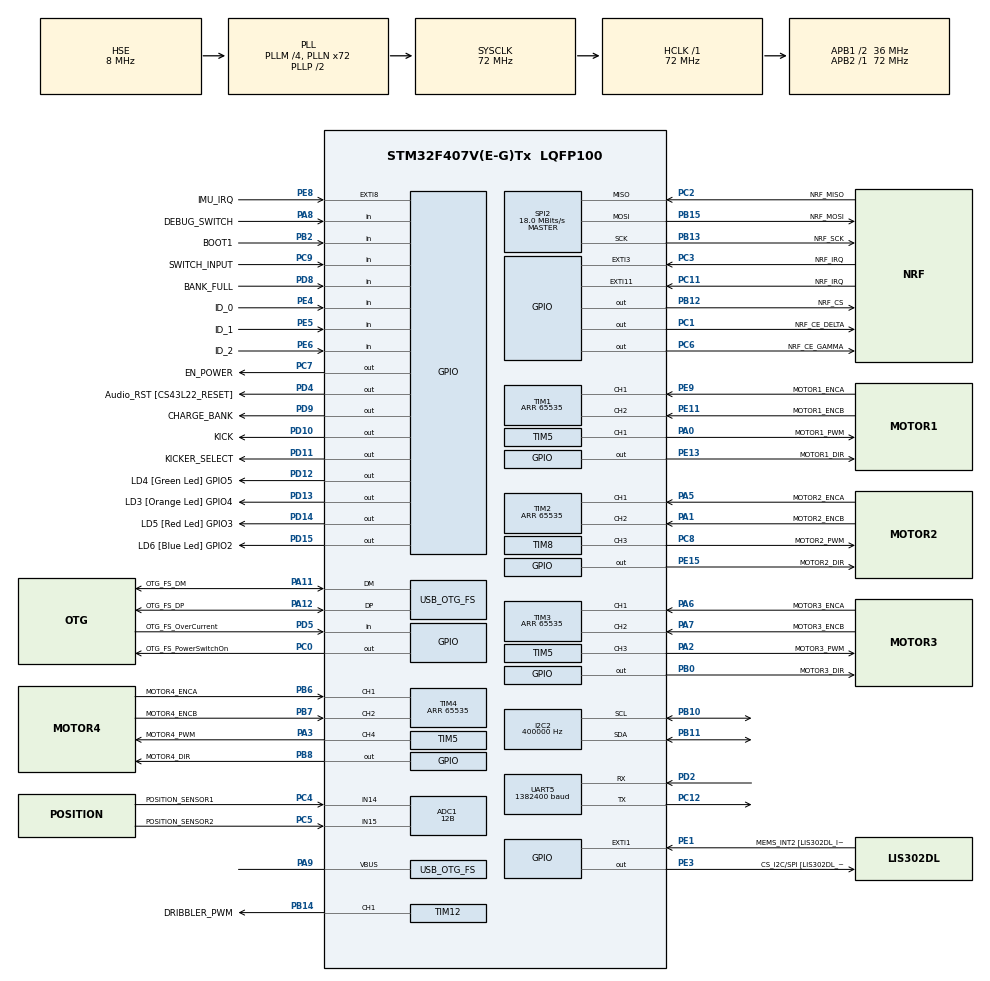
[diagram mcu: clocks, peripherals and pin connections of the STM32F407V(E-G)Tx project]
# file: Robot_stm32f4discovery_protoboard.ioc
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ADC1.Channel-0\#ChannelRegularConversion=ADC_CHANNEL_14
ADC1.Channel-2\#ChannelInjectedConversion=ADC_CHANNEL_14
ADC1.Channel-3\#ChannelInjectedConversion=ADC_CHANNEL_15
ADC1.ClockPrescaler=ADC_CLOCK_SYNC_PCLK_DIV2
ADC1.ContinuousConvMode=DISABLE
ADC1.DMAContinuousRequests=DISABLE
ADC1.DataAlign=ADC_DATAALIGN_RIGHT
ADC1.DiscontinuousConvMode=DISABLE
ADC1.EOCSelection=ADC_EOC_SINGLE_CONV
ADC1.EnableAnalogWatchDog=false
ADC1.ExternalTrigConv=ADC_EXTERNALTRIGCONV_T1_CC1
ADC1.ExternalTrigConvEdge=ADC_EXTERNALTRIGCONVEDGE_RISING
ADC1.InjNumberOfConversion=2
ADC1.InjectedOffset-2\#ChannelInjectedConversion=0
ADC1.InjectedOffset-3\#ChannelInjectedConversion=0
ADC1.NbrOfConversion=1
ADC1.NbrOfConversionFlag=1
ADC1.Rank-0\#ChannelRegularConversion=1
ADC1.Rank-2\#ChannelInjectedConversion=1
ADC1.Rank-3\#ChannelInjectedConversion=2
ADC1.Resolution=ADC_RESOLUTION_12B
ADC1.SamplingTime-0\#ChannelRegularConversion=ADC_SAMPLETIME_3CYCLES
ADC1.SamplingTime-2\#ChannelInjectedConversion=ADC_SAMPLETIME_3CYCLES
ADC1.SamplingTime-3\#ChannelInjectedConversion=ADC_SAMPLETIME_3CYCLES
ADC1.ScanConvMode=ENABLE
ADC1.master=1
FREERTOS.INCLUDE_vTaskDelayUntil=1
FREERTOS.Tasks01=defaultTask,3,128,StartDefaultTask,Default,NULL,Dynamic,NULL,NULL;wheelsTask,3,1048,wheelsTaskLoopFunction,Default,NULL,Dynamic,NULL,NULL;hermesTask,0,1048,hermesTaskLoopFunction,Default,NULL,Dynamic,NULL,NULL;slowTask,-1,128,slowTaskFunction,Default,NULL,Dynamic,NULL,NULL;consoleTask,0,1048,consoleTaskLoopFunction,Default,NULL,Dynamic,NULL,NULL
I2C2.ClockSpeed=400000
I2C2.I2C_Mode=I2C_Fast
Mcu.Family=STM32F4
Mcu.Name=STM32F407V(E-G)Tx
Mcu.Package=LQFP100
NVIC.EXTI15_10_IRQn=true\:5\:0\:false\:false\:true\:true\:true\:true
NVIC.EXTI3_IRQn=true\:5\:0\:false\:false\:true\:true\:true\:true
NVIC.OTG_FS_IRQn=true\:5\:0\:false\:false\:true\:true\:true\:true
NVIC.PriorityGroup=NVIC_PRIORITYGROUP_4
NVIC.SPI2_IRQn=true\:5\:0\:false\:false\:true\:true\:true\:true
NVIC.TIM7_IRQn=true\:5\:0\:false\:false\:true\:true\:true\:true
NVIC.TIM8_TRG_COM_TIM14_IRQn=true\:0\:0\:false\:false\:true\:false\:true\:true
NVIC.TimeBase=TIM8_TRG_COM_TIM14_IRQn
NVIC.TimeBaseIP=TIM14
NVIC.UART5_IRQn=true\:5\:0\:false\:false\:true\:true\:true\:true
PA0-WKUP.GPIO_Label=MOTOR1_PWM
PA0-WKUP.Signal=S_TIM5_CH1
PA1.GPIO_Label=MOTOR2_ENCB
PA1.Signal=S_TIM2_CH2
PA11.GPIO_Label=OTG_FS_DM
PA11.GPIO_Mode=GPIO_MODE_AF_PP
PA11.GPIO_PuPd=GPIO_NOPULL
PA11.GPIO_Speed=GPIO_SPEED_FREQ_LOW
PA11.Mode=Device_Only
PA11.Signal=USB_OTG_FS_DM
PA12.GPIO_Label=OTG_FS_DP
PA12.GPIO_Mode=GPIO_MODE_AF_PP
PA12.GPIO_PuPd=GPIO_NOPULL
PA12.GPIO_Speed=GPIO_SPEED_FREQ_LOW
PA12.Mode=Device_Only
PA12.Signal=USB_OTG_FS_DP
PA13.GPIO_Label=SWDIO
PA13.Mode=Serial_Wire
PA13.Signal=SYS_JTMS-SWDIO
PA14.GPIO_Label=SWCLK
PA14.Mode=Serial_Wire
PA14.Signal=SYS_JTCK-SWCLK
PA2.GPIO_Label=MOTOR3_PWM
PA2.Signal=S_TIM5_CH3
PA3.GPIO_Label=MOTOR4_PWM
PA3.Signal=S_TIM5_CH4
PA5.GPIO_Label=MOTOR2_ENCA
PA5.Signal=S_TIM2_CH1_ETR
PA6.GPIO_Label=MOTOR3_ENCA
PA6.Signal=S_TIM3_CH1
PA7.GPIO_Label=MOTOR3_ENCB
PA7.Signal=S_TIM3_CH2
PA8.GPIO_Label=DEBUG_SWITCH
PA8.Signal=GPIO_Input
PA9.Mode=Activate_VBUS
PA9.Signal=USB_OTG_FS_VBUS
PB0.GPIO_Label=MOTOR3_DIR
PB0.Signal=GPIO_Output
PB10.Mode=I2C
PB10.Signal=I2C2_SCL
PB11.Mode=I2C
PB11.Signal=I2C2_SDA
PB12.GPIO_Label=NRF_CS
PB12.Signal=GPIO_Output
PB13.GPIO_Label=NRF_SCK
PB13.GPIO_PuPd=GPIO_PULLUP
PB13.Mode=Full_Duplex_Master
PB13.Signal=SPI2_SCK
PB14.GPIO_Label=DRIBBLER_PWM
PB14.Signal=S_TIM12_CH1
PB15.GPIO_Label=NRF_MOSI
PB15.GPIO_PuPd=GPIO_PULLUP
PB15.Mode=Full_Duplex_Master
PB15.Signal=SPI2_MOSI
PB2.GPIO_Label=BOOT1
PB2.GPIO_Mode=GPIO_MODE_INPUT
PB2.GPIO_PuPd=GPIO_NOPULL
PB2.Signal=GPIO_Input
PB6.GPIO_Label=MOTOR4_ENCA
PB6.Signal=S_TIM4_CH1
PB7.GPIO_Label=MOTOR4_ENCB
PB7.Signal=S_TIM4_CH2
PB8.GPIO_Label=MOTOR4_DIR
PB8.Signal=GPIO_Output
PC0.GPIO_Label=OTG_FS_PowerSwitchOn
PC0.GPIO_PuPd=GPIO_NOPULL
PC0.GPIO_Speed=GPIO_SPEED_FREQ_LOW
PC0.Signal=GPIO_Output
PC1.GPIO_Label=NRF_CE_DELTA
PC1.Signal=GPIO_Output
PC11.GPIO_Label=NRF_IRQ
PC11.GPIO_ModeDefaultEXTI=GPIO_MODE_IT_FALLING
PC11.Signal=GPXTI11
PC12.Mode=Asynchronous
PC12.Signal=UART5_TX
PC2.GPIO_Label=NRF_MISO
PC2.GPIO_PuPd=GPIO_PULLUP
PC2.Mode=Full_Duplex_Master
PC2.Signal=SPI2_MISO
PC3.GPIO_Label=NRF_IRQ
PC3.Signal=GPXTI3
PC4.GPIO_Label=POSITION_SENSOR1
PC4.Signal=ADCx_IN14
PC5.GPIO_Label=POSITION_SENSOR2
PC5.Signal=ADCx_IN15
PC6.GPIO_Label=NRF_CE_GAMMA
PC6.Signal=GPIO_Output
PC7.GPIO_Label=EN_POWER
PC7.Signal=GPIO_Output
PC8.GPIO_Label=MOTOR2_PWM
PC8.Signal=S_TIM8_CH3
PC9.GPIO_Label=SWITCH_INPUT
PC9.Signal=GPIO_Input
PD10.GPIO_Label=KICK
PD10.Signal=GPIO_Output
PD11.GPIO_Label=KICKER_SELECT
PD11.Signal=GPIO_Output
PD12.GPIO_Label=LD4 [Green Led] GPIO5
PD12.GPIO_PuPd=GPIO_NOPULL
PD12.GPIO_Speed=GPIO_SPEED_FREQ_LOW
PD12.Signal=GPIO_Output
PD13.GPIO_Label=LD3 [Orange Led] GPIO4
PD13.GPIO_PuPd=GPIO_NOPULL
PD13.GPIO_Speed=GPIO_SPEED_FREQ_LOW
PD13.Signal=GPIO_Output
PD14.GPIO_Label=LD5 [Red Led] GPIO3
PD14.GPIO_PuPd=GPIO_NOPULL
PD14.GPIO_Speed=GPIO_SPEED_FREQ_LOW
PD14.Signal=GPIO_Output
PD15.GPIO_Label=LD6 [Blue Led] GPIO2
PD15.GPIO_PuPd=GPIO_NOPULL
PD15.GPIO_Speed=GPIO_SPEED_FREQ_LOW
PD15.Signal=GPIO_Output
PD2.Mode=Asynchronous
PD2.Signal=UART5_RX
PD4.GPIO_Label=Audio_RST [CS43L22_RESET]
PD4.GPIO_PuPd=GPIO_NOPULL
PD4.GPIO_Speed=GPIO_SPEED_FREQ_LOW
PD4.Signal=GPIO_Output
PD5.GPIO_Label=OTG_FS_OverCurrent
PD5.GPIO_Mode=GPIO_MODE_INPUT
PD5.GPIO_PuPd=GPIO_NOPULL
PD5.Signal=GPIO_Input
PD8.GPIO_Label=BANK_FULL
PD8.Signal=GPIO_Input
PD9.GPIO_Label=CHARGE_BANK
PD9.Signal=GPIO_Output
PE1.GPIO_Label=MEMS_INT2 [LIS302DL_INT2]
PE1.GPIO_ModeDefaultEXTI=GPIO_MODE_EVT_RISING
PE1.GPIO_PuPd=GPIO_NOPULL
PE1.Signal=GPXTI1
PE11.GPIO_Label=MOTOR1_ENCB
PE11.Signal=S_TIM1_CH2
PE13.GPIO_Label=MOTOR1_DIR
PE13.Signal=GPIO_Output
PE15.GPIO_Label=MOTOR2_DIR
PE15.Signal=GPIO_Output
PE3.GPIO_Label=CS_I2C/SPI [LIS302DL_CS_I2C/SPI]
PE3.GPIO_PuPd=GPIO_NOPULL
PE3.GPIO_Speed=GPIO_SPEED_FREQ_LOW
PE3.Signal=GPIO_Output
PE4.GPIO_Label=ID_0
PE4.Signal=GPIO_Input
PE5.GPIO_Label=ID_1
PE5.Signal=GPIO_Input
PE6.GPIO_Label=ID_2
PE6.Signal=GPIO_Input
PE8.GPIO_Label=IMU_IRQ
PE8.Signal=GPXTI8
PE9.GPIO_Label=MOTOR1_ENCA
PE9.Signal=S_TIM1_CH1
PH0-OSC_IN.GPIO_Label=PH0-OSC_IN
PH0-OSC_IN.Mode=HSE-External-Oscillator
PH0-OSC_IN.Signal=RCC_OSC_IN
PH1-OSC_OUT.GPIO_Label=PH1-OSC_OUT
PH1-OSC_OUT.Mode=HSE-External-Oscillator
PH1-OSC_OUT.Signal=RCC_OSC_OUT
ProjectManager.HeapSize=0x400
ProjectManager.StackSize=0x200
ProjectManager.TargetToolchain=SW4STM32
RCC.48MHZClocksFreq_Value=48000000
RCC.AHBFreq_Value=72000000
RCC.APB1CLKDivider=RCC_HCLK_DIV2
RCC.APB1Freq_Value=36000000
RCC.APB1TimFreq_Value=72000000
RCC.APB2Freq_Value=72000000
RCC.APB2TimFreq_Value=72000000
RCC.CortexFreq_Value=72000000
RCC.HCLKFreq_Value=72000000
RCC.HSE_VALUE=8000000
RCC.HSI_VALUE=16000000
RCC.LSE_VALUE=32768
RCC.PLLM=4
RCC.PLLN=72
RCC.PLLQ=3
RCC.SYSCLKFreq_VALUE=72000000
RCC.SYSCLKSource=RCC_SYSCLKSOURCE_PLLCLK
RCC.VCOOutputFreq_Value=144000000
SH.ADCx_IN14.0=ADC1_IN14,IN14
SH.ADCx_IN15.0=ADC1_IN15,IN15
SH.S_TIM12_CH1.0=TIM12_CH1,PWM Generation1 CH1
SH.S_TIM1_CH1.0=TIM1_CH1,Encoder_Interface
SH.S_TIM1_CH2.0=TIM1_CH2,Encoder_Interface
SH.S_TIM2_CH1_ETR.0=TIM2_CH1,Encoder_Interface
SH.S_TIM2_CH2.0=TIM2_CH2,Encoder_Interface
SH.S_TIM3_CH1.0=TIM3_CH1,Encoder_Interface
SH.S_TIM3_CH2.0=TIM3_CH2,Encoder_Interface
SH.S_TIM4_CH1.0=TIM4_CH1,Encoder_Interface
SH.S_TIM4_CH2.0=TIM4_CH2,Encoder_Interface
SH.S_TIM5_CH1.0=TIM5_CH1,PWM Generation1 CH1
SH.S_TIM5_CH3.0=TIM5_CH3,PWM Generation3 CH3
SH.S_TIM5_CH4.0=TIM5_CH4,PWM Generation4 CH4
SH.S_TIM8_CH3.0=TIM8_CH3,PWM Generation3 CH3
SPI2.BaudRatePrescaler=SPI_BAUDRATEPRESCALER_2
SPI2.CalculateBaudRate=18.0 MBits/s
SPI2.Direction=SPI_DIRECTION_2LINES
SPI2.Mode=SPI_MODE_MASTER
SPI2.VirtualType=VM_MASTER
TIM1.Period=65535
TIM12.Channel-PWM\ Generation1\ CH1=TIM_CHANNEL_1
TIM12.Period=6500
TIM2.Period=65535
TIM3.Period=65535
TIM4.Period=65535
TIM5.Channel-PWM\ Generation1\ CH1=TIM_CHANNEL_1
TIM5.Channel-PWM\ Generation3\ CH3=TIM_CHANNEL_3
TIM5.Channel-PWM\ Generation4\ CH4=TIM_CHANNEL_4
TIM5.Period=6500
TIM7.Period=2400
TIM7.Prescaler=2
TIM7.TIM_MasterOutputTrigger=TIM_TRGO_ENABLE
TIM8.Channel-PWM\ Generation3\ CH3=TIM_CHANNEL_3
TIM8.Period=6500
UART5.BaudRate=1382400
UART5.VirtualMode=Asynchronous
USB_DEVICE.CLASS_NAME-CDC_FS=CDC
USB_DEVICE.CLASS_NAME_FS=CDC
USB_DEVICE.MANUFACTURER_STRING-CDC_FS=Robocup ULaval
USB_DEVICE.PRODUCT_STRING_CDC_FS=Robocup Virtual ComPort
USB_DEVICE.USBD_HandleTypeDef-CDC_FS=hUsbDeviceFS
USB_DEVICE.VirtualMode-CDC_FS=Cdc
USB_DEVICE.VirtualModeFS=Cdc_FS
USB_OTG_FS.VirtualMode=Device_Only
VP_FREERTOS_VS_CMSIS_V1.Mode=CMSIS_V1
VP_SYS_VS_tim14.Mode=TIM14
VP_TIM12_VS_ClockSourceINT.Mode=Internal
VP_TIM5_VS_ClockSourceINT.Mode=Internal
VP_TIM7_VS_ClockSourceINT.Mode=Enable_Timer
VP_TIM8_VS_ClockSourceINT.Mode=Internal
VP_USB_DEVICE_VS_USB_DEVICE_CDC_FS.Mode=CDC_FS
board=STM32F4DISCOVERY

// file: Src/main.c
/* USER CODE BEGIN Header */
/**
  ******************************************************************************
  * @file           : main.c
  * @brief          : Main program body
  ******************************************************************************
  * @attention
  *
  * <h2><center>&copy; Copyright (c) 2019 STMicroelectronics.
  * All rights reserved.</center></h2>
  *
  * This software component is licensed by ST under Ultimate Liberty license
  * SLA0044, the "License"; You may not use this file except in compliance with
  * the License. You may obtain a copy of the License at:
  *                             www.st.com/SLA0044
  *
  ******************************************************************************
  */
/* USER CODE END Header */

#include "main.h"
#include "cmsis_os.h"
#include "adc.h"
#include "i2c.h"
#include "spi.h"
#include "tim.h"
#include "usart.h"
#include "usb_device.h"
#include "gpio.h"

/* USER CODE BEGIN Includes */
// Local includes
#include "robocup/robocup_define.h"
#include "robocup/hermes/com_interfaces/bluetooth.h"
#include "robocup/hermes/com_interfaces/nrf.h"
#include "robocup/hermes/hermes_task.h"
#include "robocup/motors/ctrl_task.h"
#include "robocup/console/console.h"

/* USER CODE END Includes */

/* USER CODE BEGIN PV */
/* Private variables ---------------------------------------------------------*/
/* USER CODE END PV */

void SystemClock_Config(void);
void MX_FREERTOS_Init(void);
/* USER CODE BEGIN PFP */
/* Private function prototypes -----------------------------------------------*/

/* USER CODE END PFP */

int main(void)
{

  /* MCU Configuration--------------------------------------------------------*/

  /* Reset of all peripherals, Initializes the Flash interface and the Systick. */
  HAL_Init();

  /* Configure the system clock */
  SystemClock_Config();

  /* Initialize all configured peripherals */
  MX_GPIO_Init();
  MX_SPI2_Init();
  MX_I2C2_Init();
  MX_UART5_Init();
  MX_TIM1_Init();
  MX_TIM2_Init();
  MX_TIM3_Init();
  MX_TIM4_Init();
  MX_TIM5_Init();
  MX_TIM8_Init();
  MX_TIM12_Init();
  MX_ADC1_Init();
  MX_TIM7_Init();
  /* USER CODE BEGIN 2 */

    HAL_TIM_Base_Start(&htim1); // For Encoder
    HAL_TIM_Base_Start(&htim2); // For Encoder
  	HAL_TIM_Base_Start(&htim3); // For Encoder
  	HAL_TIM_Base_Start(&htim4); // For Encoder
  	HAL_TIM_Base_Start(&htim5); // PWM for motors (1,3,4)
  	HAL_TIM_Base_Start(&htim7); // For kick interrupt
  	HAL_TIM_Base_Start(&htim8); // PWM for motor 2
  	HAL_TIM_Base_Start(&htim12);// PWM for dribbler

  	//__HAL_TIM_ENABLE_IT(&htim7, TIM_IT_UPDATE);

  	// Init communication

  	comHandle_t comBluetooth = bluetooth_init(robot_isDebug());
  	log_init(comBluetooth);

  	comHandle_t comNrf = nrf_init();
  	hermes_init(comNrf);

  	if(robot_isDebug())
  		console_init(comBluetooth);

	ctrl_emergencyBrake();

  /* USER CODE END 2 */

  /* Call init function for freertos objects (in freertos.c) */
  MX_FREERTOS_Init();

  /* Start scheduler */
  osKernelStart();

  /* We should never get here as control is now taken by the scheduler */

  /* Infinite loop */
  while (1)
  {

  }
}

void SystemClock_Config(void)
{
  RCC_OscInitTypeDef RCC_OscInitStruct = {0};
  RCC_ClkInitTypeDef RCC_ClkInitStruct = {0};

  /** Configure the main internal regulator output voltage
  */
  __HAL_RCC_PWR_CLK_ENABLE();
  __HAL_PWR_VOLTAGESCALING_CONFIG(PWR_REGULATOR_VOLTAGE_SCALE1);
  /** Initializes the CPU, AHB and APB busses clocks
  */
  RCC_OscInitStruct.OscillatorType = RCC_OSCILLATORTYPE_HSE;
  RCC_OscInitStruct.HSEState = RCC_HSE_ON;
  RCC_OscInitStruct.PLL.PLLState = RCC_PLL_ON;
  RCC_OscInitStruct.PLL.PLLSource = RCC_PLLSOURCE_HSE;
  RCC_OscInitStruct.PLL.PLLM = 4;
  RCC_OscInitStruct.PLL.PLLN = 72;
  RCC_OscInitStruct.PLL.PLLP = RCC_PLLP_DIV2;
  RCC_OscInitStruct.PLL.PLLQ = 3;
  if (HAL_RCC_OscConfig(&RCC_OscInitStruct) != HAL_OK)
  {
    Error_Handler();
  }
  /** Initializes the CPU, AHB and APB busses clocks
  */
  RCC_ClkInitStruct.ClockType = RCC_CLOCKTYPE_HCLK|RCC_CLOCKTYPE_SYSCLK
                              |RCC_CLOCKTYPE_PCLK1|RCC_CLOCKTYPE_PCLK2;
  RCC_ClkInitStruct.SYSCLKSource = RCC_SYSCLKSOURCE_PLLCLK;
  RCC_ClkInitStruct.AHBCLKDivider = RCC_SYSCLK_DIV1;
  RCC_ClkInitStruct.APB1CLKDivider = RCC_HCLK_DIV2;
  RCC_ClkInitStruct.APB2CLKDivider = RCC_HCLK_DIV1;

  if (HAL_RCC_ClockConfig(&RCC_ClkInitStruct, FLASH_LATENCY_2) != HAL_OK)
  {
    Error_Handler();
  }
}

void HAL_TIM_PeriodElapsedCallback(TIM_HandleTypeDef *htim)
{
  if (htim->Instance == TIM14) {
    HAL_IncTick();
  }
}

void Error_Handler(void)
{
  while(1)
  {
  }
}

/************************ (C) COPYRIGHT STMicroelectronics *****END OF FILE****/

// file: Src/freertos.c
/* USER CODE BEGIN Header */
/**
  ******************************************************************************
  * File Name          : freertos.c
  * Description        : Code for freertos applications
  ******************************************************************************
  * This notice applies to any and all portions of this file
  * that are not between comment pairs USER CODE BEGIN and
  * USER CODE END. Other portions of this file, whether
  * inserted by the user or by software development tools
  * are owned by their respective copyright owners.
  *
  * Copyright (c) 2018 STMicroelectronics International N.V.
  * All rights reserved.
  *
  * Redistribution and use in source and binary forms, with or without
  * modification, are permitted, provided that the following conditions are met:
  *
  * 1. Redistribution of source code must retain the above copyright notice,
  *    this list of conditions and the following disclaimer.
  * 2. Redistributions in binary form must reproduce the above copyright notice,
  *    this list of conditions and the following disclaimer in the documentation
  *    and/or other materials provided with the distribution.
  * 3. Neither the name of STMicroelectronics nor the names of other
  *    contributors to this software may be used to endorse or promote products
  *    derived from this software without specific written permission.
  * 4. This software, including modifications and/or derivative works of this
  *    software, must execute solely and exclusively on microcontroller or
  *    microprocessor devices manufactured by or for STMicroelectronics.
  * 5. Redistribution and use of this software other than as permitted under
  *    this license is void and will automatically terminate your rights under
  *    this license.
  *
  * THIS SOFTWARE IS PROVIDED BY STMICROELECTRONICS AND CONTRIBUTORS "AS IS"
  * AND ANY EXPRESS, IMPLIED OR STATUTORY WARRANTIES, INCLUDING, BUT NOT
  * LIMITED TO, THE IMPLIED WARRANTIES OF MERCHANTABILITY, FITNESS FOR A
  * PARTICULAR PURPOSE AND NON-INFRINGEMENT OF THIRD PARTY INTELLECTUAL PROPERTY
  * RIGHTS ARE DISCLAIMED TO THE FULLEST EXTENT PERMITTED BY LAW. IN NO EVENT
  * SHALL STMICROELECTRONICS OR CONTRIBUTORS BE LIABLE FOR ANY DIRECT, INDIRECT,
  * INCIDENTAL, SPECIAL, EXEMPLARY, OR CONSEQUENTIAL DAMAGES (INCLUDING, BUT NOT
  * LIMITED TO, PROCUREMENT OF SUBSTITUTE GOODS OR SERVICES; LOSS OF USE, DATA,
  * OR PROFITS; OR BUSINESS INTERRUPTION) HOWEVER CAUSED AND ON ANY THEORY OF
  * LIABILITY, WHETHER IN CONTRACT, STRICT LIABILITY, OR TORT (INCLUDING
  * NEGLIGENCE OR OTHERWISE) ARISING IN ANY WAY OUT OF THE USE OF THIS SOFTWARE,
  * EVEN IF ADVISED OF THE POSSIBILITY OF SUCH DAMAGE.
  *
  ******************************************************************************
  */
/* USER CODE END Header */

#include "FreeRTOS.h"
#include "task.h"
#include "main.h"
#include "cmsis_os.h"

/* USER CODE BEGIN Includes */
#include "robocup/robocup_define.h"
/* USER CODE END Includes */

osThreadId defaultTaskHandle;
osThreadId wheelsTaskHandle;
osThreadId hermesTaskHandle;
osThreadId slowTaskHandle;
osThreadId consoleTaskHandle;

void StartDefaultTask(void const * argument);
void wheelsTaskLoopFunction(void const * argument);
void hermesTaskLoopFunction(void const * argument);
void slowTaskFunction(void const * argument);
void consoleTaskLoopFunction(void const * argument);

extern void MX_USB_DEVICE_Init(void);
void MX_FREERTOS_Init(void); /* (MISRA C 2004 rule 8.1) */

/* GetIdleTaskMemory prototype (linked to static allocation support) */
void vApplicationGetIdleTaskMemory( StaticTask_t **ppxIdleTaskTCBBuffer, StackType_t **ppxIdleTaskStackBuffer, uint32_t *pulIdleTaskStackSize );

/* USER CODE BEGIN GET_IDLE_TASK_MEMORY */
static StaticTask_t xIdleTaskTCBBuffer;
static StackType_t xIdleStack[configMINIMAL_STACK_SIZE];

void vApplicationGetIdleTaskMemory( StaticTask_t **ppxIdleTaskTCBBuffer, StackType_t **ppxIdleTaskStackBuffer, uint32_t *pulIdleTaskStackSize )
{
  *ppxIdleTaskTCBBuffer = &xIdleTaskTCBBuffer;
  *ppxIdleTaskStackBuffer = &xIdleStack[0];
  *pulIdleTaskStackSize = configMINIMAL_STACK_SIZE;
  /* place for user code */
}
/* USER CODE END GET_IDLE_TASK_MEMORY */

void MX_FREERTOS_Init(void) {

  /* Create the thread(s) */
  /* definition and creation of defaultTask */
  osThreadDef(defaultTask, StartDefaultTask, osPriorityRealtime, 0, 128);
  defaultTaskHandle = osThreadCreate(osThread(defaultTask), NULL);

  /* definition and creation of wheelsTask */
  osThreadDef(wheelsTask, wheelsTaskLoopFunction, osPriorityRealtime, 0, 1048);
  wheelsTaskHandle = osThreadCreate(osThread(wheelsTask), NULL);

  /* definition and creation of hermesTask */
  osThreadDef(hermesTask, hermesTaskLoopFunction, osPriorityNormal, 0, 1048);
  hermesTaskHandle = osThreadCreate(osThread(hermesTask), NULL);

  /* definition and creation of slowTask */
  osThreadDef(slowTask, slowTaskFunction, osPriorityBelowNormal, 0, 128);
  slowTaskHandle = osThreadCreate(osThread(slowTask), NULL);

  /* definition and creation of consoleTask */
  osThreadDef(consoleTask, consoleTaskLoopFunction, osPriorityNormal, 0, 1048);
  consoleTaskHandle = osThreadCreate(osThread(consoleTask), NULL);

}

void StartDefaultTask(void const * argument)
{

  /* init code for USB_DEVICE */
  MX_USB_DEVICE_Init();

  /* USER CODE BEGIN StartDefaultTask */
  	vTaskSuspend(NULL); // Suspend the task forever
	/* Infinite loop */
	for(;;)
	{
		osDelay(10000);
	}
  /* USER CODE END StartDefaultTask */
}

void wheelsTaskLoopFunction(void const * argument)
{
  /* USER CODE BEGIN wheelsTaskLoopFunction */
  /* Infinite loop */
  for(;;)
  {
	  ctrl_taskEntryPoint();
      osDelay(1);
  }
  /* USER CODE END wheelsTaskLoopFunction */
}

void hermesTaskLoopFunction(void const * argument)
{
  /* USER CODE BEGIN hermesTaskLoopFunction */
	for (;;) {
		hermes_task_slave();
	    osDelay(100);
	}
  /* USER CODE END hermesTaskLoopFunction */
}

void slowTaskFunction(void const * argument)
{
  /* USER CODE BEGIN slowTaskFunction */
  /* Infinite loop */
  for(;;)
  {
	  slow_taskEntryPoint();
	  osDelay(1000);
  }
  /* USER CODE END slowTaskFunction */
}

void consoleTaskLoopFunction(void const * argument)
{
  /* USER CODE BEGIN consoleTaskLoopFunction */
  /* Infinite loop */
  for(;;)
  {
	  console_taskEntryPoint();
	  osDelay(100);
  }
  /* USER CODE END consoleTaskLoopFunction */
}

/************************ (C) COPYRIGHT STMicroelectronics *****END OF FILE****/
